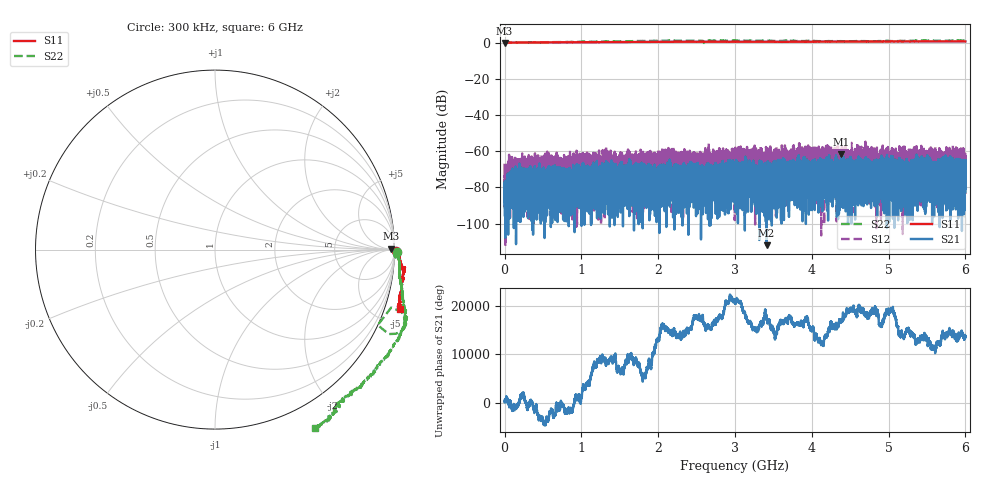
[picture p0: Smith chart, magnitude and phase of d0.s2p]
!Agilent Technologies,N5230C,SG49000117,A.08.50.07
!Agilent N5230C: A.08.50.07
!Date: Thursday, May 16, 2024 18:04:21
!Correction: S11(Full 2 Port(1,2))
!S21(Full 2 Port(1,2))
!S12(Full 2 Port(1,2))
!S22(Full 2 Port(1,2))
!S2P File: Measurements: S11, S21, S12, S22:
# Hz S  MA  R 50
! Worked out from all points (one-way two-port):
!   20001 points, 300 kHz to 6 GHz, reference 50 ohm
!   highest |S21| = -61.77 dB at 4.384 GHz (marker M1); lowest = -112.1 dB at 3.412 GHz (marker M2)
!   lowest |S11| = -0.2 dB at 600 kHz (marker M3), VSWR 114.43, Z = 5.16e+03 + j1.71e+03 ohm
!   |S11| at or under -10 dB: nowhere
!   |S22| runs from -0.3 to 1.2 dB; largest |S21 - S12| = 0.0019
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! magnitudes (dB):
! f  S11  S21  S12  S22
! 300 kHz  0.1  -77.5  -66.9  0.1
! 600 kHz  -0.2  -85.7  -84.3  -0.3
! 30.6 MHz  0.0  -79.9  -79.6  0.0
! 164.4 MHz  0.1  -81.3  -64.5  0.1
! 1 GHz  0.3  -78.5  -66.5  0.4
! 2 GHz  0.5  -88.0  -72.8  1.0
! 2.138 GHz  0.5  -75.7  -70.8  1.1
! 2.778 GHz  0.5  -69.9  -68.4  1.1
! 3 GHz  0.5  -66.1  -61.6  1.1
! 3.412 GHz  0.5  -112.1  -77.6  1.0
! 4 GHz  0.5  -69.2  -66.7  1.0
! 4.384 GHz  0.6  -61.8  -66.4  0.9
! 4.555 GHz  0.7  -77.8  -68.9  0.9
! 4.718 GHz  0.7  -77.1  -67.4  0.8
! 4.872 GHz  0.7  -70.0  -75.3  0.9
! 5 GHz  0.7  -65.4  -66.1  0.9
! 5.257 GHz  0.7  -80.6  -66.1  1.0
! 5.538 GHz  0.7  -70.2  -67.0  1.1
! 5.7 GHz  0.7  -76.9  -67.7  1.1
! 5.946 GHz  0.7  -78.8  -66.9  1.1
! 5.97 GHz  0.7  -74.6  -73.6  1.1
! 6 GHz  0.7  -65.0  -83.6  1.1
